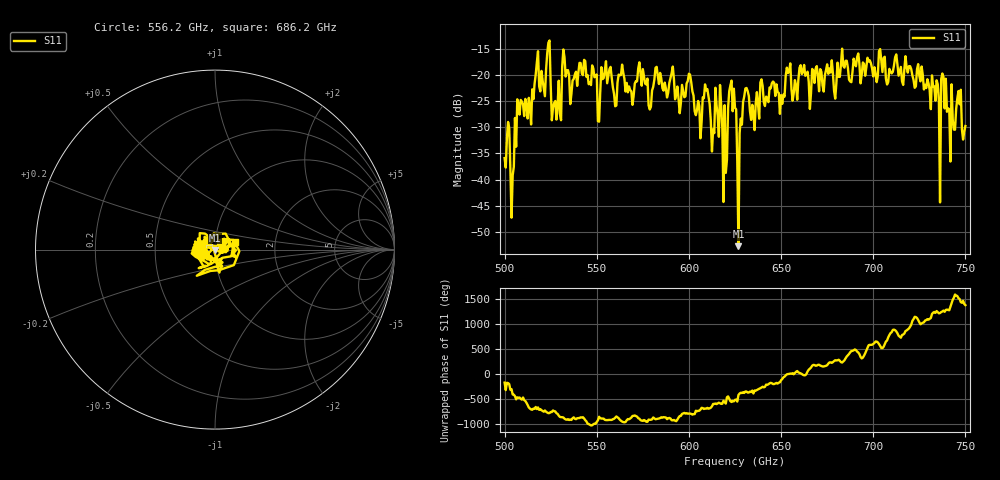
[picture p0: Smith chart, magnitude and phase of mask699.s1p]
!Created with skrf (http://scikit-rf.org).
# GHz S MA R 50.0
!freq magS11 angS11
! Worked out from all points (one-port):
!   401 points, 500 GHz to 750 GHz, reference 50 ohm
!   lowest |S11| = -52.7 dB at 626.9 GHz (marker M1), VSWR 1.00, Z = 50.1 - j0.189 ohm
!   |S11| at or under -10 dB: start of sweep to end of sweep
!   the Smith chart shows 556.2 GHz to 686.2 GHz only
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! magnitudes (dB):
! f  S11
! 500 GHz  -35.9
! 504.4 GHz  -39.2
! 508.1 GHz  -27.6
! 513.1 GHz  -24.4
! 517.5 GHz  -17.6
! 523.8 GHz  -13.9
! 526.9 GHz  -25.4
! 531.2 GHz  -18.4
! 562.5 GHz  -20.1
! 593.8 GHz  -22.2
! 610 GHz  -22.7
! 612.5 GHz  -34.6
! 616.2 GHz  -31.8
! 619.4 GHz  -25.8
! 622.5 GHz  -22.0
! 625 GHz  -26.3
! 626.9 GHz  -52.7
! 630.6 GHz  -22.6
! 634.4 GHz  -25.7
! 656.2 GHz  -24.9
! 687.5 GHz  -21.3
! 718.8 GHz  -19.6
! 733.8 GHz  -24.9
! 735 GHz  -21.8
! 738.1 GHz  -20.4
! 743.1 GHz  -28.5
! 746.2 GHz  -23.1
! 750 GHz  -29.8
